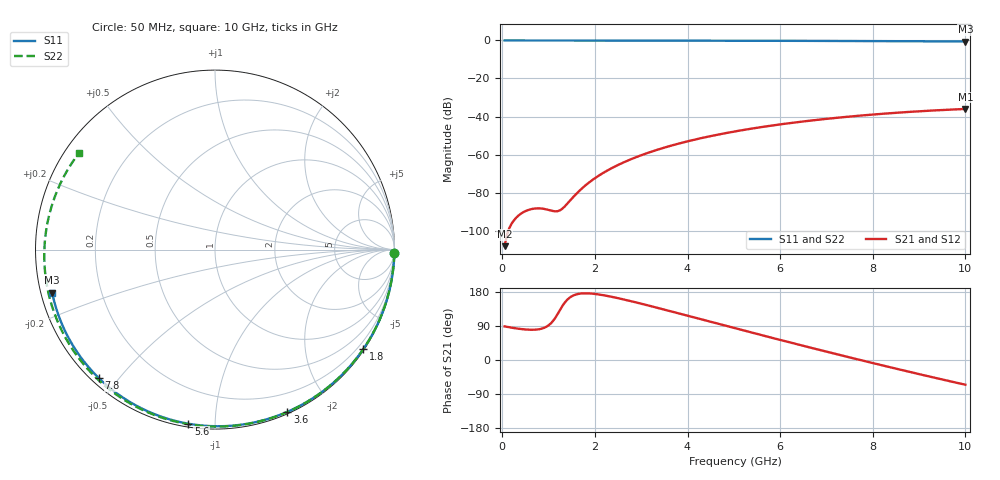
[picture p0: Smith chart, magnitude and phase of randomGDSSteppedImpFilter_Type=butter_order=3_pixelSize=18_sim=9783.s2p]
! freq	dB(S11)	phase(S11)	dB(S12)	phase(S12)
!  dB(S21)	phase(S21)	dB(S22)	phase(S22)
!S-par simulation data
#  GHz  S  DB  R 50
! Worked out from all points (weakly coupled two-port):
!   200 points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, 50 MHz to 10 GHz, reference 50 ohm
!   highest |S21| = -36.02 dB at 10 GHz (marker M1); lowest = -108.2 dB at 50 MHz (marker M2)
!   lowest |S11| = -0.6 dB at 10 GHz (marker M3), VSWR 31.51, Z = 1.61 - j6.51 ohm
!   |S11| at or under -10 dB: nowhere
!   |S22| runs from -0.6 to 0.0 dB; largest |S21 - S12| = 0
!   S11 on the Smith chart (normalised r, x): 50 MHz: open; 1.8 GHz: 0.03, -3.28; 3.6 GHz: 0.02, -1.54; 5.6 GHz: 0.02, -0.86; 7.8 GHz: 0.02, -0.44; 10 GHz: 0.03, -0.13
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0.05  -0.00 -0.9  -108.15 88.7  -108.15 88.7  -0.00 -1.2
0.45  -0.01 -8.6  -90.34 81.1  -90.34 81.1  -0.02 -11.0
0.8  -0.02 -15.3  -88.28 81.3  -88.28 81.3  -0.03 -19.6
1.6  -0.04 -30.3  -80.58 173.2  -80.58 173.2  -0.05 -38.7
1.65  -0.04 -31.2  -79.37 174.6  -79.37 174.6  -0.05 -39.9
1.75  -0.04 -33.0  -77.13 175.9  -77.13 175.9  -0.05 -42.2
1.8  -0.04 -34.0  -76.10 176.0  -76.10 176.0  -0.05 -43.4
2.1  -0.05 -39.4  -70.82 172.6  -70.82 172.6  -0.06 -50.4
2.45  -0.06 -45.8  -66.06 164.5  -66.06 164.5  -0.07 -58.4
2.9  -0.07 -53.8  -61.27 151.6  -61.27 151.6  -0.09 -68.4
3.4  -0.08 -62.5  -57.06 136.1  -57.06 136.1  -0.10 -79.4
3.6  -0.09 -66.0  -55.62 129.7  -55.62 129.7  -0.11 -83.6
4.3  -0.11 -77.8  -51.33 107.2  -51.33 107.2  -0.14 -98.3
5.05  -0.14 -90.0  -47.71 83.1  -47.71 83.1  -0.17 -113.5
5.6  -0.16 -98.7  -45.53 65.6  -45.53 65.6  -0.20 -124.4
6.15  -0.19 -107.2  -43.65 48.3  -43.65 48.3  -0.24 -135.2
6.7  -0.23 -115.6  -42.01 31.2  -42.01 31.2  -0.28 -145.9
7.25  -0.26 -123.8  -40.59 14.4  -40.59 14.4  -0.32 -156.7
7.8  -0.31 -132.0  -39.36 -2.1  -39.36 -2.1  -0.38 -167.7
8.35  -0.36 -140.2  -38.30 -18.4  -38.30 -18.4  -0.43 -178.9
9.2  -0.45 -152.9  -36.96 -43.0  -36.96 -43.0  -0.53 162.9
10  -0.55 -165.1  -36.02 -65.2  -36.02 -65.2  -0.64 144.6
